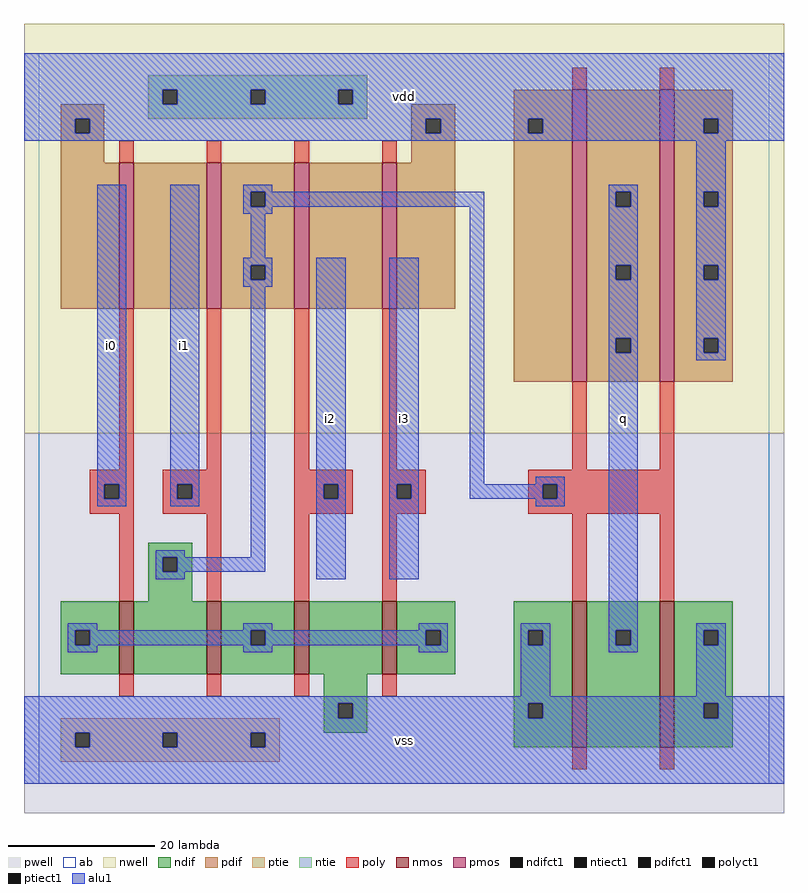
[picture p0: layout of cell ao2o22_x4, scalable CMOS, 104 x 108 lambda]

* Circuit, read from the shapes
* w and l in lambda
.subckt ao2o22_x4 i0 i1 i2 i3 q vdd vss
M1 n1 i0 n2 vss nfet w=10 l=2
M2 n2 i1 n1 vss nfet w=10 l=2
M3 vss i2 n2 vss nfet w=10 l=2
M4 n2 i3 vss vss nfet w=10 l=2
M5 q n1 vss vss nfet w=20 l=2 m=2
M6 n3 i0 vdd vdd pfet w=20 l=2
M7 n1 i1 n3 vdd pfet w=20 l=2
M8 n4 i2 n1 vdd pfet w=20 l=2
M9 vdd i3 n4 vdd pfet w=20 l=2
M10 q n1 vdd vdd pfet w=40 l=2 m=2
.ends

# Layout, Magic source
magic
tech scmos
<< ab >>
rect 0 0 100 100
<< nwell >>
rect -2 48 102 104
<< pwell >>
rect -2 -4 102 48
<< poly >>
rect 73 95 75 98
rect 85 95 87 98
rect 11 85 13 88
rect 23 85 25 88
rect 35 85 37 88
rect 47 85 49 88
rect 11 43 13 65
rect 23 43 25 65
rect 7 41 13 43
rect 7 39 9 41
rect 11 39 13 41
rect 7 37 13 39
rect 17 41 25 43
rect 17 39 19 41
rect 21 39 25 41
rect 17 37 25 39
rect 11 25 13 37
rect 23 25 25 37
rect 35 43 37 65
rect 47 43 49 65
rect 73 43 75 55
rect 85 43 87 55
rect 35 41 43 43
rect 35 39 39 41
rect 41 39 43 41
rect 35 37 43 39
rect 47 41 53 43
rect 47 39 49 41
rect 51 39 53 41
rect 47 37 53 39
rect 67 41 87 43
rect 67 39 69 41
rect 71 39 87 41
rect 67 37 87 39
rect 35 25 37 37
rect 47 25 49 37
rect 73 25 75 37
rect 85 25 87 37
rect 11 12 13 15
rect 23 12 25 15
rect 35 12 37 15
rect 47 12 49 15
rect 73 2 75 5
rect 85 2 87 5
<< ndif >>
rect 15 31 21 33
rect 15 29 17 31
rect 19 29 21 31
rect 15 25 21 29
rect 3 21 11 25
rect 3 19 5 21
rect 7 19 11 21
rect 3 15 11 19
rect 13 15 23 25
rect 25 21 35 25
rect 25 19 29 21
rect 31 19 35 21
rect 25 15 35 19
rect 37 15 47 25
rect 49 21 57 25
rect 49 19 53 21
rect 55 19 57 21
rect 49 15 57 19
rect 65 21 73 25
rect 65 19 67 21
rect 69 19 73 21
rect 39 11 45 15
rect 39 9 41 11
rect 43 9 45 11
rect 39 7 45 9
rect 65 11 73 19
rect 65 9 67 11
rect 69 9 73 11
rect 65 5 73 9
rect 75 21 85 25
rect 75 19 79 21
rect 81 19 85 21
rect 75 5 85 19
rect 87 21 95 25
rect 87 19 91 21
rect 93 19 95 21
rect 87 11 95 19
rect 87 9 91 11
rect 93 9 95 11
rect 87 5 95 9
<< pdif >>
rect 3 91 9 93
rect 51 91 57 93
rect 3 89 5 91
rect 7 89 9 91
rect 3 85 9 89
rect 51 89 53 91
rect 55 89 57 91
rect 51 85 57 89
rect 3 65 11 85
rect 13 65 23 85
rect 25 81 35 85
rect 25 79 29 81
rect 31 79 35 81
rect 25 71 35 79
rect 25 69 29 71
rect 31 69 35 71
rect 25 65 35 69
rect 37 65 47 85
rect 49 65 57 85
rect 65 91 73 95
rect 65 89 67 91
rect 69 89 73 91
rect 65 55 73 89
rect 75 81 85 95
rect 75 79 79 81
rect 81 79 85 81
rect 75 71 85 79
rect 75 69 79 71
rect 81 69 85 71
rect 75 61 85 69
rect 75 59 79 61
rect 81 59 85 61
rect 75 55 85 59
rect 87 91 95 95
rect 87 89 91 91
rect 93 89 95 91
rect 87 81 95 89
rect 87 79 91 81
rect 93 79 95 81
rect 87 71 95 79
rect 87 69 91 71
rect 93 69 95 71
rect 87 61 95 69
rect 87 59 91 61
rect 93 59 95 61
rect 87 55 95 59
<< alu1 >>
rect -2 95 102 100
rect -2 93 17 95
rect 19 93 29 95
rect 31 93 41 95
rect 43 93 102 95
rect -2 91 102 93
rect -2 89 5 91
rect 7 89 53 91
rect 55 89 67 91
rect 69 89 91 91
rect 93 89 102 91
rect -2 88 102 89
rect 8 41 12 82
rect 8 39 9 41
rect 11 39 12 41
rect 8 38 12 39
rect 18 41 22 82
rect 28 81 32 82
rect 78 81 82 82
rect 28 79 29 81
rect 31 79 61 81
rect 28 78 32 79
rect 29 72 31 78
rect 28 71 32 72
rect 28 69 29 71
rect 31 69 32 71
rect 28 68 32 69
rect 18 39 19 41
rect 21 39 22 41
rect 18 38 22 39
rect 16 31 20 32
rect 29 31 31 68
rect 16 29 17 31
rect 19 29 31 31
rect 38 41 42 72
rect 38 39 39 41
rect 41 39 42 41
rect 16 28 20 29
rect 38 28 42 39
rect 48 41 52 72
rect 48 39 49 41
rect 51 39 52 41
rect 59 41 61 79
rect 78 79 79 81
rect 81 79 82 81
rect 78 71 82 79
rect 78 69 79 71
rect 81 69 82 71
rect 78 61 82 69
rect 78 59 79 61
rect 81 59 82 61
rect 68 41 72 42
rect 59 39 69 41
rect 71 39 72 41
rect 48 28 52 39
rect 68 38 72 39
rect 4 21 8 22
rect 28 21 32 22
rect 52 21 56 22
rect 4 19 5 21
rect 7 19 29 21
rect 31 19 53 21
rect 55 19 56 21
rect 4 18 8 19
rect 28 18 32 19
rect 52 18 56 19
rect 66 21 70 22
rect 66 19 67 21
rect 69 19 70 21
rect 66 12 70 19
rect 78 21 82 59
rect 90 81 94 88
rect 90 79 91 81
rect 93 79 94 81
rect 90 71 94 79
rect 90 69 91 71
rect 93 69 94 71
rect 90 61 94 69
rect 90 59 91 61
rect 93 59 94 61
rect 90 58 94 59
rect 78 19 79 21
rect 81 19 82 21
rect 78 18 82 19
rect 90 21 94 22
rect 90 19 91 21
rect 93 19 94 21
rect 90 12 94 19
rect -2 11 102 12
rect -2 9 41 11
rect 43 9 67 11
rect 69 9 91 11
rect 93 9 102 11
rect -2 7 102 9
rect -2 5 5 7
rect 7 5 17 7
rect 19 5 29 7
rect 31 5 102 7
rect -2 0 102 5
<< ptie >>
rect 3 7 33 9
rect 3 5 5 7
rect 7 5 17 7
rect 19 5 29 7
rect 31 5 33 7
rect 3 3 33 5
<< ntie >>
rect 15 95 45 97
rect 15 93 17 95
rect 19 93 29 95
rect 31 93 41 95
rect 43 93 45 95
rect 15 91 45 93
<< nmos >>
rect 11 15 13 25
rect 23 15 25 25
rect 35 15 37 25
rect 47 15 49 25
rect 73 5 75 25
rect 85 5 87 25
<< pmos >>
rect 11 65 13 85
rect 23 65 25 85
rect 35 65 37 85
rect 47 65 49 85
rect 73 55 75 95
rect 85 55 87 95
<< polyct1 >>
rect 9 39 11 41
rect 19 39 21 41
rect 39 39 41 41
rect 49 39 51 41
rect 69 39 71 41
<< ndifct1 >>
rect 17 29 19 31
rect 5 19 7 21
rect 29 19 31 21
rect 53 19 55 21
rect 67 19 69 21
rect 41 9 43 11
rect 67 9 69 11
rect 79 19 81 21
rect 91 19 93 21
rect 91 9 93 11
<< ntiect1 >>
rect 17 93 19 95
rect 29 93 31 95
rect 41 93 43 95
<< ptiect1 >>
rect 5 5 7 7
rect 17 5 19 7
rect 29 5 31 7
<< pdifct1 >>
rect 5 89 7 91
rect 53 89 55 91
rect 29 79 31 81
rect 29 69 31 71
rect 67 89 69 91
rect 79 79 81 81
rect 79 69 81 71
rect 79 59 81 61
rect 91 89 93 91
rect 91 79 93 81
rect 91 69 93 71
rect 91 59 93 61
<< labels >>
rlabel alu1 10 60 10 60 6 i0
rlabel alu1 20 60 20 60 6 i1
rlabel alu1 40 50 40 50 6 i2
rlabel alu1 50 6 50 6 6 vss
rlabel alu1 50 50 50 50 6 i3
rlabel alu1 50 94 50 94 6 vdd
rlabel alu1 80 50 80 50 6 q
<< end >>
